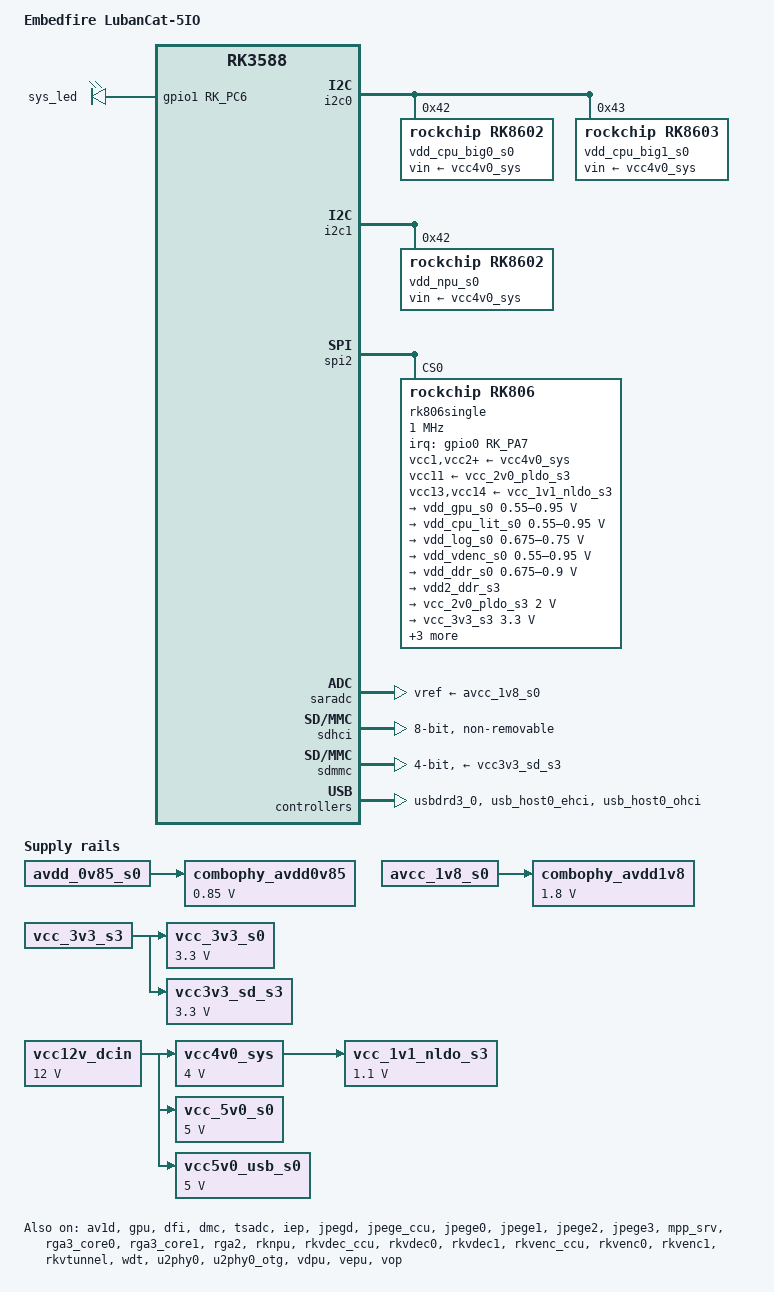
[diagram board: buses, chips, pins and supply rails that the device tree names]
// SPDX-License-Identifier: (GPL-2.0+ OR MIT)
/*
 * Copyright (c) 2021 Rockchip Electronics Co., Ltd.
 * Copyright (c) 2023 EmbedFire <embedfire@embedfire.com>
 */

/dts-v1/;

#include <dt-bindings/usb/pd.h>
#include <dt-bindings/gpio/gpio.h>
#include <dt-bindings/pwm/pwm.h>
#include <dt-bindings/pinctrl/rockchip.h>
//#include <dt-bindings/input/rk-input.h>
#include <dt-bindings/input/linux-event-codes.h>
#include <dt-bindings/display/drm_mipi_dsi.h>
#include <dt-bindings/display/rockchip_vop.h>
#include <dt-bindings/sensor-dev.h>
#include <dt-bindings/phy/jlsemi-dt-phy.h>
#include "rk3588.dtsi"
#include "rk3588-linux.dtsi"

/*
 * Display
 * 四屏异显(4K+4K+4K+2K)分配方案:
 *   hdmi0  4K			-->  vp0
 *   hdmi1  4K			-->  vp1
 *   dp0 or dsi0  4K	-->  vp2
 *   dsi1   2K			-->  vp3
 * 三屏异显(8K+4K+2K)分配方案:(其中8K通过vp0与vp1合并实现)
 * hdmi0、hdmi1 or dp0 8K --> vp0
 * hdmi1、dp0 or dis0  4K --> vp2
 * dsi1   2K              --> vp3
 */
/* 四屏异显(4K+4K+4K+2K), dp0与dsi0只能二选一 */
// #include "rk3588-lubancat-5io-hdmi0-vp0.dtsi"
// #include "rk3588-lubancat-5io-hdmi1-vp1.dtsi"
// #include "rk3588-lubancat-5io-dp0-vp2.dtsi"
// #include "rk3588-lubancat-5io-dsi0-vp2-1080p.dtsi"
// #include "rk3588-lubancat-5io-dsi1-vp3-1080p.dtsi"

/* 三屏异显(8K+4K+2K), 注：每个vp只能绑定到一个接口 */
// #include "rk3588-lubancat-5io-hdmi0-vp0.dtsi"
// #include "rk3588-lubancat-5io-hdmi1-vp0.dtsi"
// #include "rk3588-lubancat-5io-dp0-vp0.dtsi"
// #include "rk3588-lubancat-5io-hdmi1-vp2.dtsi"
// #include "rk3588-lubancat-5io-dp0-vp2.dtsi"
// #include "rk3588-lubancat-5io-dsi0-vp2-1080p.dtsi"
// #include "rk3588-lubancat-5io-dsi1-vp3-1080p.dtsi"

/* hdmi rx */

// #include "rk3588-lubancat-5io-hdmi-rx.dtsi"

/* Camera */
// #include "rk3588-lubancat-5io-csi.dtsi"

/ {
	model = "Embedfire LubanCat-5IO";
	compatible = "embedfire,rk3588-lubancat-5io", "rockchip,rk3588";

	// /* If hdmirx node is disabled, delete the reserved-memory node here. */
	// reserved-memory {
	// 	#address-cells = <2>;
	// 	#size-cells = <2>;
	// 	ranges;
	// 	/* Reserve 256MB memory for hdmirx-controller@fdee0000 */
	// 	cma {
	// 		compatible = "shared-dma-pool";
	// 		reusable;
	// 		reg = <0x0 (256 * 0x100000) 0x0 (256 * 0x100000)>;
	// 		linux,cma-default;
	// 	};
	// };

	leds: leds {
		status = "okay";
		compatible = "gpio-leds";

		sys_led: sys-led {
			label = "sys_led";
			linux,default-trigger = "heartbeat";
			default-state = "on";
			gpios = <&gpio1 RK_PC6 GPIO_ACTIVE_HIGH>;
			pinctrl-names = "default";
			pinctrl-0 = <&sys_led_pin>;
		};
	};

	vcc12v_dcin: vcc12v-dcin {
		compatible = "regulator-fixed";
		regulator-always-on;
		regulator-boot-on;
		regulator-min-microvolt = <12000000>;
		regulator-max-microvolt = <12000000>;
		regulator-name = "vcc12v_dcin";
	};

	vcc4v0_sys: vcc4v0-sys {
		compatible = "regulator-fixed";
		regulator-name = "vcc4v0_sys";
		regulator-always-on;
		regulator-boot-on;
		regulator-min-microvolt = <4000000>;
		regulator-max-microvolt = <4000000>;
		vin-supply = <&vcc12v_dcin>;
	};

	vcc_5v0_s0: vcc-5v0-s0 {
		compatible = "regulator-fixed";
		regulator-name = "vcc_5v0_s0";
		regulator-always-on;
		regulator-boot-on;
		regulator-min-microvolt = <5000000>;
		regulator-max-microvolt = <5000000>;
		vin-supply = <&vcc12v_dcin>;
	};

	vcc5v0_usb_s0: vcc5v0-usb-s0 {
		compatible = "regulator-fixed";
		regulator-name = "vcc5v0_usb_s0";
		regulator-always-on;
		regulator-boot-on;
		regulator-min-microvolt = <5000000>;
		regulator-max-microvolt = <5000000>;
		vin-supply = <&vcc12v_dcin>;
	};

	combophy_avdd0v85: combophy-avdd0v85 {
		compatible = "regulator-fixed";
		regulator-name = "combophy_avdd0v85";
		regulator-boot-on;
		regulator-min-microvolt = <850000>;
		regulator-max-microvolt = <850000>;
		vin-supply = <&avdd_0v85_s0>;
	};

	combophy_avdd1v8: combophy-avdd1v8 {
		compatible = "regulator-fixed";
		regulator-name = "combophy_avdd1v8";
		regulator-boot-on;
		regulator-min-microvolt = <1800000>;
		regulator-max-microvolt = <1800000>;
		vin-supply = <&avcc_1v8_s0>;
	};

	vcc_1v1_nldo_s3: vcc-1v1-nldo-s3 {
		compatible = "regulator-fixed";
		regulator-name = "vcc_1v1_nldo_s3";
		regulator-always-on;
		regulator-boot-on;
		regulator-min-microvolt = <1100000>;
		regulator-max-microvolt = <1100000>;
		vin-supply = <&vcc4v0_sys>;
	};

	vcc_3v3_s0: vcc-3v3-s0 {
		compatible = "regulator-fixed";
		regulator-name = "vcc_3v3_s0";
		regulator-always-on;
		regulator-boot-on;
		regulator-min-microvolt = <3300000>;
		regulator-max-microvolt = <3300000>;
		vin-supply = <&vcc_3v3_s3>;
	};

	vcc3v3_sd_s3: vcc3v3-sd-s3 {
		compatible = "regulator-fixed";
		regulator-name = "vcc3v3_sd_s3";
		regulator-always-on;
		regulator-boot-on;
		regulator-min-microvolt = <3300000>;
		regulator-max-microvolt = <3300000>;
		vin-supply = <&vcc_3v3_s3>;
	};

	vbus5v0_typec: vbus5v0-typec {
		compatible = "regulator-fixed";
		regulator-name = "vbus5v0_typec";
		regulator-min-microvolt = <5000000>;
		regulator-max-microvolt = <5000000>;
		enable-active-high;
		gpio = <&gpio4 RK_PA3 GPIO_ACTIVE_HIGH>;
		vin-supply = <&vcc5v0_usb_s0>;
		pinctrl-names = "default";
		pinctrl-0 = <&typec_vbus_en>;
		status="disabled"; /* my */
	};

	vcc5v0_usb30_otg: vcc5v0-usb30-otg {
		compatible = "regulator-fixed";
		regulator-name = "vcc5v0_usb30_otg";
		regulator-min-microvolt = <5000000>;
		regulator-max-microvolt = <5000000>;
		regulator-always-on;
		enable-active-high;
		regulator-boot-on;
		gpio = <&gpio4 RK_PA4 GPIO_ACTIVE_HIGH>;
		vin-supply = <&vcc5v0_usb_s0>;
		pinctrl-names = "default";
		pinctrl-0 = <&vcc5v0_usb30_otg_en>;
		status="disabled"; /* my */
	};

	vcc5v0_usb20_hub: vcc5v0-usb20-hub {
		compatible = "regulator-fixed";
		regulator-name = "vcc5v0_usb20_hub";
		regulator-min-microvolt = <5000000>;
		regulator-max-microvolt = <5000000>;
		regulator-always-on;
		enable-active-high;
		regulator-boot-on;
		gpio = <&gpio4 RK_PA5 GPIO_ACTIVE_HIGH>;
		vin-supply = <&vcc5v0_usb_s0>;
		pinctrl-names = "default";
		pinctrl-0 = <&vcc5v0_usb20_hub_en>;
		status="disabled"; /* my */
	};

	vcc5v0_usb20_host: vcc5v0-usb20-host {
		compatible = "regulator-fixed";
		regulator-name = "vcc5v0_usb20_host";
		regulator-min-microvolt = <5000000>;
		regulator-max-microvolt = <5000000>;
		regulator-always-on;
		enable-active-high;
		regulator-boot-on;
		gpio = <&gpio2 RK_PC3 GPIO_ACTIVE_HIGH>;
		vin-supply = <&vcc5v0_usb_s0>;
		pinctrl-names = "default";
		pinctrl-0 = <&vcc5v0_usb20_host_en>;
		status="disabled"; /* my */
	};

	vcc3v3_m2_pcie: vcc3v3-m2-pcie {
		compatible = "regulator-fixed";
		regulator-name = "vcc3v3_m2_pcie";
		regulator-min-microvolt = <3300000>;
		regulator-max-microvolt = <3300000>;
		regulator-always-on;
		enable-active-high;
		regulator-boot-on;
		gpio = <&gpio2 RK_PC5 GPIO_ACTIVE_HIGH>;
		vin-supply = <&vcc12v_dcin>;
		pinctrl-names = "default";
		pinctrl-0 = <&vcc3v3_m2_pcie_en>;
		status="disabled"; /* my */
	};

	vcc3v3_pciex4: vcc3v3-pciex4 {
		compatible = "regulator-fixed";
		regulator-name = "vcc3v3_pciex4";
		regulator-min-microvolt = <3300000>;
		regulator-max-microvolt = <3300000>;
		regulator-always-on;
		enable-active-high;
		regulator-boot-on;
		gpio = <&gpio4 RK_PC6 GPIO_ACTIVE_HIGH>;
		vin-supply = <&vcc12v_dcin>;
		pinctrl-names = "default";
		pinctrl-0 = <&vcc3v3_pcie_en>;
		status="disabled"; /* my */
	};

	vcc3v3_mini_pcie: vcc3v3-mini-pcie {
		compatible = "regulator-fixed";
		regulator-name = "vcc3v3_mini_pcie";
		regulator-min-microvolt = <3300000>;
		regulator-max-microvolt = <3300000>;
		regulator-always-on;
		enable-active-high;
		regulator-boot-on;
		gpio = <&gpio1 RK_PD5 GPIO_ACTIVE_HIGH>;
		vin-supply = <&vcc12v_dcin>;
		pinctrl-names = "default";
		pinctrl-0 = <&vcc3v3_mini_pcie_en>;
		status="disabled"; /* my */
	};

	vcc3v3_ekey_pcie: vcc3v3-ekey-pcie {
		compatible = "regulator-fixed";
		regulator-name = "vcc3v3_ekey_pcie";
		regulator-min-microvolt = <3300000>;
		regulator-max-microvolt = <3300000>;
		regulator-always-on;
		enable-active-high;
		regulator-boot-on;
		gpio = <&gpio0 RK_PB7 GPIO_ACTIVE_HIGH>;
		vin-supply = <&vcc12v_dcin>;
		pinctrl-names = "default";
		pinctrl-0 = <&vcc3v3_ekey_pcie_en>;
		status="disabled"; /* my */
	};

	sata_power: sata-power {
		compatible = "regulator-fixed";
		regulator-name = "sata_power";
		regulator-always-on;
		enable-active-high;
		regulator-boot-on;
		gpio = <&gpio1 RK_PD3 GPIO_ACTIVE_HIGH>;
		vin-supply = <&vcc12v_dcin>;
		pinctrl-names = "default";
		pinctrl-0 = <&sata_power_en>;
		status="disabled"; /* my */
	};

	mipi_dsi0_power: mipi-dsi0-power-regulator {
		compatible = "regulator-fixed";
		regulator-name = "mipi_dsi0_power";
		regulator-always-on;
		enable-active-high;
		regulator-boot-on;
		gpio = <&gpio1 RK_PC0 GPIO_ACTIVE_HIGH>;
		vin-supply = <&vcc_5v0_s0>;
		pinctrl-names = "default";
		pinctrl-0 = <&mipi_dsi0_power_en>;
		status="disabled"; /* my */
	};

	mipi_dsi1_power: mipi-dsi1-power-regulator {
		compatible = "regulator-fixed";
		regulator-name = "mipi_dsi1_power";
		regulator-always-on;
		enable-active-high;
		regulator-boot-on;
		gpio = <&gpio1 RK_PC1 GPIO_ACTIVE_HIGH>;
		vin-supply = <&vcc_5v0_s0>;
		pinctrl-names = "default";
		pinctrl-0 = <&mipi_dsi1_power_en>;
		status="disabled"; /* my */
	};

	es8388_sound: es8388-sound {
		status="disabled"; /* my */
		compatible = "rockchip,multicodecs-card";
		rockchip,card-name = "rockchip-es8388";
		hp-det-gpio = <&gpio0 RK_PA0 GPIO_ACTIVE_HIGH>;
		hp-con-gpio = <&gpio0 RK_PC7 GPIO_ACTIVE_HIGH>;
		spk-con-gpio = <&gpio3 RK_PD5 GPIO_ACTIVE_HIGH>;
		io-channels = <&saradc 4>;
		io-channel-names = "adc-detect";
		keyup-threshold-microvolt = <1800000>;
		poll-interval = <100>;
		rockchip,format = "i2s";
		rockchip,mclk-fs = <256>;
		rockchip,cpu = <&i2s0_8ch>;
		rockchip,codec = <&es8388>;
		rockchip,audio-routing =
			"Headphone", "LOUT1",
			"Headphone", "ROUT1",
			"Speaker", "LOUT2",
			"Speaker", "ROUT2",
			"Headphone", "Headphone Power",
			"Headphone", "Headphone Power",
			"Speaker", "Speaker Power",
			"Speaker", "Speaker Power",
			"LINPUT1", "Main Mic",
			"LINPUT2", "Main Mic",
			"RINPUT1", "Headset Mic",
			"RINPUT2", "Headset Mic";
		pinctrl-names = "default";
		pinctrl-0 = <&hp_det>;
		play-pause-key {
			label = "playpause";
			linux,code = <KEY_PLAYPAUSE>;
			press-threshold-microvolt = <2000>;
		};

		previous-song-key {
			label = "previoussong";
			linux,code = <KEY_PREVIOUSSONG>;
			press-threshold-microvolt = <145000>;
		};

		next-song-key {
			label = "nextsong";
			linux,code = <KEY_NEXTSONG>;
			press-threshold-microvolt = <290000>;
		};
	};

	fan: pwm-fan {
		compatible = "pwm-fan";
		#cooling-cells = <2>;
		pwms = <&pwm11 0 5000 0>;
		cooling-levels = <0 100 150 200 255>;
		rockchip,temp-trips = <
			35000	1
			40000	2
			45000	3
			50000	4
		>;
		status="disabled"; /* my */
	};

	test-power { /* 用于内核电源子系统的调试和测试，通常与实际产品功能无关。 */
		status = "okay";
	};
};

&rockchip_suspend { /* 配置系统休眠（挂起到内存）行为，包括休眠模式、唤醒源等*/
	status = "okay";
	rockchip,sleep-debug-en = <1>;
	rockchip,sleep-mode-config = <
		(0
		| RKPM_SLP_ARMOFF_DDRPD
		| RKPM_SLP_PMU_PMUALIVE_32K
		| RKPM_SLP_PMU_DIS_OSC
		| RKPM_SLP_32K_EXT
		)
	>;
	rockchip,wakeup-config = <
		(0
		| RKPM_GPIO_WKUP_EN
		| RKPM_CPU0_WKUP_EN
		)
	>;
};

&i2c2 {
	status="disabled"; /* my */
	pinctrl-names = "default";
	pinctrl-0 = <&i2c2m4_xfer>;
};

&pwm11 { //fan control
	pinctrl-0 = <&pwm11m2_pins>;
	status="disabled"; /* my */
};

&av1d { /* 硬件解码器核心，负责AV1格式视频的解码运算 */
	status = "okay";
};

&av1d_mmu {
	status = "okay";
};

&cpu_l0 {
	cpu-supply = <&vdd_cpu_lit_s0>;
	mem-supply = <&vdd_cpu_lit_mem_s0>;
};

&cpu_b0 {
	cpu-supply = <&vdd_cpu_big0_s0>;
	mem-supply = <&vdd_cpu_big0_mem_s0>;
};

&cpu_b2 {
	cpu-supply = <&vdd_cpu_big1_s0>;
	mem-supply = <&vdd_cpu_big1_mem_s0>;
};

&gpu {
	mali-supply = <&vdd_gpu_s0>;
	mem-supply = <&vdd_gpu_mem_s0>;
	upthreshold = <60>;
	downdifferential = <30>;
	status = "okay";
};

&dfi { /* DDR 控制接口 */
	status = "okay";
};

&dmc { /* 动态内存控制器 */
	status = "okay";
	center-supply = <&vdd_ddr_s0>;
	mem-supply = <&vdd_log_s0>;
};

&i2c0 {
	pinctrl-names = "default";
	pinctrl-0 = <&i2c0m2_xfer>;
	status = "okay";

	hym8563: hym8563@51 { //rtc
		compatible = "haoyu,hym8563";
		reg = <0x51>;
		#clock-cells = <0>;
		clock-frequency = <32768>;
		clock-output-names = "hym8563";
		pinctrl-names = "default";
		pinctrl-0 = <&hym8563_int>;
		interrupt-parent = <&gpio0>;
		interrupts = <RK_PB0 IRQ_TYPE_LEVEL_LOW>;
		wakeup-source;
		status="disabled"; /* my */
	};

	vdd_cpu_big0_s0: vdd_cpu_big0_mem_s0: rk8602@42 {
		compatible = "rockchip,rk8602";
		reg = <0x42>;
		vin-supply = <&vcc4v0_sys>;
		regulator-compatible = "rk860x-reg";
		regulator-name = "vdd_cpu_big0_s0";
		regulator-min-microvolt = <550000>;
		regulator-max-microvolt = <1050000>;
		regulator-ramp-delay = <2300>;
		rockchip,suspend-voltage-selector = <1>;
		regulator-boot-on;
		regulator-always-on;
		regulator-state-mem {
			regulator-off-in-suspend;
		};
	};

	vdd_cpu_big1_s0: vdd_cpu_big1_mem_s0: rk8603@43 {
		compatible = "rockchip,rk8603";
		reg = <0x43>;
		vin-supply = <&vcc4v0_sys>;
		regulator-compatible = "rk860x-reg";
		regulator-name = "vdd_cpu_big1_s0";
		regulator-min-microvolt = <550000>;
		regulator-max-microvolt = <1050000>;
		regulator-ramp-delay = <2300>;
		rockchip,suspend-voltage-selector = <1>;
		regulator-boot-on;
		regulator-always-on;
		regulator-state-mem {
			regulator-off-in-suspend;
		};
	};

	gpio6: gpio-expander@21 { /* io扩展芯片 */
		compatible = "nxp,pca9535";
		status="disabled"; /* my */
		reg = <0x21>;
		gpio-controller;
		#gpio-cells = <2>;
	};
};

&i2c1 {
	pinctrl-names = "default";
	pinctrl-0 = <&i2c1m2_xfer>;
	status = "okay";

	vdd_npu_s0: vdd_npu_mem_s0: rk8602@42 {
		compatible = "rockchip,rk8602";
		reg = <0x42>;
		vin-supply = <&vcc4v0_sys>;
		regulator-compatible = "rk860x-reg";
		regulator-name = "vdd_npu_s0";
		regulator-min-microvolt = <550000>;
		regulator-max-microvolt = <950000>;
		regulator-ramp-delay = <2300>;
		rockchip,suspend-voltage-selector = <1>;
		regulator-boot-on;
		regulator-always-on;
		regulator-state-mem {
			regulator-off-in-suspend;
		};
	};

	/* Typec Controller Fusb302 */
	usbc0: fusb302@22 {
		compatible = "fcs,fusb302";
		reg = <0x22>;
		interrupt-parent = <&gpio0>;
		interrupts = <RK_PD3 IRQ_TYPE_LEVEL_LOW>;
		pinctrl-names = "default";
		pinctrl-0 = <&fusb302_int>;
		vbus-supply = <&vbus5v0_typec>;
		status="disabled"; /* my */

		ports {
			#address-cells = <1>;
			#size-cells = <0>;

			port@0 {
				reg = <0>;
				usbc0_role_sw: endpoint@0 {
					remote-endpoint = <&dwc3_0_role_switch>;
				};
			};
		};

		usb_con: connector {
			compatible = "usb-c-connector";
			label = "USB-C";
			data-role = "dual";
			power-role = "dual";
			try-power-role = "sink";
			op-sink-microwatt = <1000000>;
			sink-pdos =
				<PDO_FIXED(5000, 1000, PDO_FIXED_USB_COMM)>;
			source-pdos =
				<PDO_FIXED(5000, 3000, PDO_FIXED_USB_COMM)>;

			altmodes {
				#address-cells = <1>;
				#size-cells = <0>;

				altmode@0 {
					reg = <0>;
					svid = <0xff01>;
					vdo = <0xffffffff>;
				};
			};

			ports {
				#address-cells = <1>;
				#size-cells = <0>;

				port@0 {
					reg = <0>;
					usbc0_orien_sw: endpoint {
						remote-endpoint = <&usbdp_phy0_orientation_switch>;
					};
				};

				port@1 {
					reg = <1>;
					dp_altmode_mux: endpoint {
						remote-endpoint = <&usbdp_phy0_dp_altmode_mux>;
					};
				};
			};
		};
	};
};

&spi2 {
	status = "okay";
	assigned-clocks = <&cru CLK_SPI2>;
	assigned-clock-rates = <200000000>;
	pinctrl-names = "default";
	pinctrl-0 = <&spi2m2_cs0 &spi2m2_pins>;
	num-cs = <1>;

	rk806single@0 {
		compatible = "rockchip,rk806";
		spi-max-frequency = <1000000>;
		reg = <0x0>;

		interrupt-parent = <&gpio0>;
		interrupts = <RK_PA7 IRQ_TYPE_LEVEL_LOW>;

		pinctrl-names = "default", "pmic-power-off";
		pinctrl-0 = <&pmic_pins>, <&rk806_dvs1_null>, <&rk806_dvs2_null>, <&rk806_dvs3_null>;
		pinctrl-1 = <&rk806_dvs1_pwrdn>;

		/* 2800mv-3500mv */
		low_voltage_threshold = <3000>;
		/* 2700mv-3400mv */
		shutdown_voltage_threshold = <2700>;
		/* 140 160 */
		shutdown_temperture_threshold = <160>;
		hotdie_temperture_threshold = <115>;

		/* 0: restart PMU;
		 * 1: reset all the power off reset registers,
		 *	forcing the state to switch to ACTIVE mode;
		 * 2: Reset all the power off reset registers,
		 *	forcing the state to switch to ACTIVE mode,
		 *	and simultaneously pull down the RESETB PIN for 5mS before releasing
		 */
		pmic-reset-func = <1>;

		vcc1-supply = <&vcc4v0_sys>;
		vcc2-supply = <&vcc4v0_sys>;
		vcc3-supply = <&vcc4v0_sys>;
		vcc4-supply = <&vcc4v0_sys>;
		vcc5-supply = <&vcc4v0_sys>;
		vcc6-supply = <&vcc4v0_sys>;
		vcc7-supply = <&vcc4v0_sys>;
		vcc8-supply = <&vcc4v0_sys>;
		vcc9-supply = <&vcc4v0_sys>;
		vcc10-supply = <&vcc4v0_sys>;
		vcc11-supply = <&vcc_2v0_pldo_s3>;
		vcc12-supply = <&vcc4v0_sys>;
		vcc13-supply = <&vcc_1v1_nldo_s3>;
		vcc14-supply = <&vcc_1v1_nldo_s3>;
		vcca-supply = <&vcc4v0_sys>;

		pwrkey {
			status = "okay";
		};

		pinctrl_rk806: pinctrl_rk806 {
			gpio-controller;
			#gpio-cells = <2>;

			rk806_dvs1_null: rk806_dvs1_null {
				pins = "gpio_pwrctrl2";
				function = "pin_fun0";
			};

			rk806_dvs1_slp: rk806_dvs1_slp {
				pins = "gpio_pwrctrl1";
				function = "pin_fun1";
			};

			rk806_dvs1_pwrdn: rk806_dvs1_pwrdn {
				pins = "gpio_pwrctrl1";
				function = "pin_fun2";
			};

			rk806_dvs1_rst: rk806_dvs1_rst {
				pins = "gpio_pwrctrl1";
				function = "pin_fun3";
			};

			rk806_dvs2_null: rk806_dvs2_null {
				pins = "gpio_pwrctrl2";
				function = "pin_fun0";
			};

			rk806_dvs2_slp: rk806_dvs2_slp {
				pins = "gpio_pwrctrl2";
				function = "pin_fun1";
			};

			rk806_dvs2_pwrdn: rk806_dvs2_pwrdn {
				pins = "gpio_pwrctrl2";
				function = "pin_fun2";
			};

			rk806_dvs2_rst: rk806_dvs2_rst {
				pins = "gpio_pwrctrl2";
				function = "pin_fun3";
			};

			rk806_dvs2_dvs: rk806_dvs2_dvs {
				pins = "gpio_pwrctrl2";
				function = "pin_fun4";
			};

			rk806_dvs2_gpio: rk806_dvs2_gpio {
				pins = "gpio_pwrctrl2";
				function = "pin_fun5";
			};

			rk806_dvs3_null: rk806_dvs3_null {
				pins = "gpio_pwrctrl3";
				function = "pin_fun0";
			};

			rk806_dvs3_slp: rk806_dvs3_slp {
				pins = "gpio_pwrctrl3";
				function = "pin_fun1";
			};

			rk806_dvs3_pwrdn: rk806_dvs3_pwrdn {
				pins = "gpio_pwrctrl3";
				function = "pin_fun2";
			};

			rk806_dvs3_rst: rk806_dvs3_rst {
				pins = "gpio_pwrctrl3";
				function = "pin_fun3";
			};

			rk806_dvs3_dvs: rk806_dvs3_dvs {
				pins = "gpio_pwrctrl3";
				function = "pin_fun4";
			};

			rk806_dvs3_gpio: rk806_dvs3_gpio {
				pins = "gpio_pwrctrl3";
				function = "pin_fun5";
			};
		};

		regulators {
			vdd_gpu_s0: vdd_gpu_mem_s0: DCDC_REG1 {
				regulator-boot-on;
				regulator-min-microvolt = <550000>;
				regulator-max-microvolt = <950000>;
				regulator-ramp-delay = <12500>;
				regulator-name = "vdd_gpu_s0";
				regulator-enable-ramp-delay = <400>;
				regulator-state-mem {
					regulator-off-in-suspend;
				};
			};

			vdd_cpu_lit_s0: vdd_cpu_lit_mem_s0: DCDC_REG2 {
				regulator-always-on;
				regulator-boot-on;
				regulator-min-microvolt = <550000>;
				regulator-max-microvolt = <950000>;
				regulator-ramp-delay = <12500>;
				regulator-name = "vdd_cpu_lit_s0";
				regulator-state-mem {
					regulator-off-in-suspend;
				};
			};

			vdd_log_s0: DCDC_REG3 {
				regulator-always-on;
				regulator-boot-on;
				regulator-min-microvolt = <675000>;
				regulator-max-microvolt = <750000>;
				regulator-ramp-delay = <12500>;
				regulator-name = "vdd_log_s0";
				regulator-state-mem {
					regulator-on-in-suspend;
					regulator-suspend-microvolt = <750000>;
				};
			};

			vdd_vdenc_s0: vdd_vdenc_mem_s0: DCDC_REG4 {
				regulator-always-on;
				regulator-boot-on;
				regulator-min-microvolt = <550000>;
				regulator-max-microvolt = <950000>;
				regulator-init-microvolt = <750000>;
				regulator-ramp-delay = <12500>;
				regulator-name = "vdd_vdenc_s0";
				regulator-state-mem {
					regulator-off-in-suspend;
				};
			};

			vdd_ddr_s0: DCDC_REG5 {
				regulator-always-on;
				regulator-boot-on;
				regulator-min-microvolt = <675000>;
				regulator-max-microvolt = <900000>;
				regulator-ramp-delay = <12500>;
				regulator-name = "vdd_ddr_s0";
				regulator-state-mem {
					regulator-off-in-suspend;
					regulator-suspend-microvolt = <850000>;
				};
			};

			vdd2_ddr_s3: DCDC_REG6 {
				regulator-always-on;
				regulator-boot-on;
				regulator-name = "vdd2_ddr_s3";
				regulator-state-mem {
					regulator-on-in-suspend;
				};
			};

			vcc_2v0_pldo_s3: DCDC_REG7 {
				regulator-always-on;
				regulator-boot-on;
				regulator-min-microvolt = <2000000>;
				regulator-max-microvolt = <2000000>;
				regulator-name = "vdd_2v0_pldo_s3";
				regulator-state-mem {
					regulator-on-in-suspend;
					regulator-suspend-microvolt = <2000000>;
				};
			};

			vcc_3v3_s3: DCDC_REG8 {
				regulator-always-on;
				regulator-boot-on;
				regulator-min-microvolt = <3300000>;
				regulator-max-microvolt = <3300000>;
				regulator-name = "vcc_3v3_s3";
				regulator-state-mem {
					regulator-on-in-suspend;
					regulator-suspend-microvolt = <3300000>;
				};
			};

			vddq_ddr_s0: DCDC_REG9 {
				regulator-always-on;
				regulator-boot-on;
				regulator-name = "vddq_ddr_s0";
				regulator-state-mem {
					regulator-off-in-suspend;
				};
			};

			vcc_1v8_s3: DCDC_REG10 {
				regulator-always-on;
				regulator-boot-on;
				regulator-min-microvolt = <1800000>;
				regulator-max-microvolt = <1800000>;
				regulator-name = "vcc_1v8_s3";
				regulator-state-mem {
					regulator-on-in-suspend;
					regulator-suspend-microvolt = <1800000>;
				};
			};

			vcc_1v8_s0: PLDO_REG1 {
				regulator-always-on;
				regulator-boot-on;
				regulator-min-microvolt = <1800000>;
				regulator-max-microvolt = <1800000>;
				regulator-name = "vcc_1v8_s0";
				regulator-state-mem {
					regulator-on-in-suspend;
					regulator-suspend-microvolt = <1800000>;
				};
			};

			avcc_1v8_s0: PLDO_REG2 {
				regulator-always-on;
				regulator-boot-on;
				regulator-min-microvolt = <1800000>;
				regulator-max-microvolt = <1800000>;
				regulator-name = "avcc_1v8_s0";
				regulator-state-mem {
					regulator-off-in-suspend;
				};
			};

			avdd_1v2_s0: PLDO_REG3 {
				regulator-always-on;
				regulator-boot-on;
				regulator-min-microvolt = <1200000>;
				regulator-max-microvolt = <1200000>;
				regulator-name = "avdd_1v2_s0";
				regulator-state-mem {
					regulator-off-in-suspend;
				};
			};

			avcc_3v3_s0: PLDO_REG4 {
				regulator-always-on;
				regulator-boot-on;
				regulator-min-microvolt = <3300000>;
				regulator-max-microvolt = <3300000>;
				regulator-name = "avcc_3v3_s0";
				regulator-state-mem {
					regulator-off-in-suspend;
				};
			};

			vccio_sd_s0: PLDO_REG5 {
				regulator-always-on;
				regulator-boot-on;
				regulator-min-microvolt = <1800000>;
				regulator-max-microvolt = <3300000>;
				regulator-name = "vccio_sd_s0";
				regulator-state-mem {
					regulator-off-in-suspend;
				};
			};

			pldo6_s3: PLDO_REG6 {
				regulator-always-on;
				regulator-boot-on;
				regulator-min-microvolt = <1800000>;
				regulator-max-microvolt = <1800000>;
				regulator-name = "pldo6_s3";
				regulator-state-mem {
					regulator-on-in-suspend;
					regulator-suspend-microvolt = <1800000>;
				};
			};

			vdd_0v75_s3: NLDO_REG1 {
				regulator-always-on;
				regulator-boot-on;
				regulator-min-microvolt = <750000>;
				regulator-max-microvolt = <750000>;
				regulator-name = "vdd_0v75_s3";
				regulator-state-mem {
					regulator-on-in-suspend;
					regulator-suspend-microvolt = <750000>;
				};
			};

			avdd_ddr_pll_s0: NLDO_REG2 {
				regulator-always-on;
				regulator-boot-on;
				regulator-min-microvolt = <850000>;
				regulator-max-microvolt = <850000>;
				regulator-name = "avdd_ddr_pll_s0";
				regulator-state-mem {
					regulator-off-in-suspend;
					regulator-suspend-microvolt = <850000>;
				};
			};

			avdd_0v75_s0: NLDO_REG3 {
				regulator-always-on;
				regulator-boot-on;
				regulator-min-microvolt = <837500>;
				regulator-max-microvolt = <837500>;
				regulator-name = "avdd_0v75_s0";
				regulator-state-mem {
					regulator-off-in-suspend;
				};
			};

			avdd_0v85_s0: NLDO_REG4 {
				regulator-always-on;
				regulator-boot-on;
				regulator-min-microvolt = <850000>;
				regulator-max-microvolt = <850000>;
				regulator-name = "avdd_0v85_s0";
				regulator-state-mem {
					regulator-off-in-suspend;
				};
			};
		};
	};
};

&i2c7 {
	pinctrl-names = "default";
	pinctrl-0 = <&i2c7m0_xfer>;
	status="disabled"; /* my */

	es8388: es8388@11 {
		status = "okay";
		#sound-dai-cells = <0>;
		compatible = "everest,es8388", "everest,es8323";
		reg = <0x11>;
		clocks = <&mclkout_i2s0>;
		clock-names = "mclk";
		assigned-clocks = <&mclkout_i2s0>;
		assigned-clock-rates = <12288000>;
		pinctrl-names = "default";
		pinctrl-0 = <&i2s0_mclk>;
	};
};

&i2s0_8ch {
	status="disabled"; /* my */
	rockchip,clk-trcm = <1>;
	pinctrl-0 = <&i2s0_lrck
			 &i2s0_sclk
			 &i2s0_sdi0
			 &i2s0_sdo0>;
};

&saradc {
	status = "okay";
	vref-supply = <&avcc_1v8_s0>;
};

&tsadc {
	status = "okay";
};

&sdhci { /* 定义了操作系统软件应如何与SD和MMC存储卡的硬件主机控制器进行通信 */
	bus-width = <8>;
	no-sdio;
	no-sd;
	non-removable;
	max-frequency = <200000000>;
	mmc-hs400-1_8v;
	mmc-hs400-enhanced-strobe;
	full-pwr-cycle-in-suspend;
	status = "okay";
};

&sdmmc {
	max-frequency = <200000000>;
	no-sdio;
	no-mmc;
	bus-width = <4>;
	cap-mmc-highspeed;
	cap-sd-highspeed;
	disable-wp;
	sd-uhs-sdr104;
	vmmc-supply = <&vcc3v3_sd_s3>;
	vqmmc-supply = <&vccio_sd_s0>;
	pinctrl-names = "default";
	pinctrl-0 = <&sdmmc_bus4 &sdmmc_clk &sdmmc_cmd &sdmmc_det>;
	status = "okay";
};

&iep { /* 图像增强处理器 */
	status = "okay";
};

&iep_mmu {
	status = "okay";
};

&jpegd { /* JPEG 解码器 */
	status = "okay";
};

&jpegd_mmu {
	status = "okay";
};

&jpege_ccu {
	status = "okay";
};

&jpege0 { /* JPEG 编码器 */
	status = "okay";
};

&jpege0_mmu {
	status = "okay";
};

&jpege1 {
	status = "okay";
};

&jpege1_mmu {
	status = "okay";
};

&jpege2 {
	status = "okay";
};

&jpege2_mmu {
	status = "okay";
};

&jpege3 {
	status = "okay";
};

&jpege3_mmu {
	status = "okay";
};

&mpp_srv { /* 媒体处理平台服务 */
	status = "okay";
};

&pwm4 {
	pinctrl-0 = <&pwm4m0_pins>;
	status="disabled"; /* my */
};

&pwm2 {
	pinctrl-0 = <&pwm2m0_pins>;
	status="disabled"; /* my */
};

&pwm6 {
	pinctrl-0 = <&pwm6m0_pins>;
	status="disabled"; /* my */
};

&pwm7 {
	compatible = "rockchip,remotectl-pwm";
	pinctrl-names = "default";
	pinctrl-0 = <&pwm7m0_pins>;
	remote_pwm_id = <3>;
	handle_cpu_id = <1>;
	remote_support_psci = <0>;
	status="disabled"; /* my */

	ir_key_lubancat{
	rockchip,usercode = <0xff00>;
	rockchip,key_table =
		<0xba   KEY_POWER>,   //电源按键
		<0xb8   KEY_MENU>,     //菜单按键
		<0xbc   KEY_BACK>,      //返回按键
		<0xbb   KEY_HOME>,      //home键按键
		<0xea   KEY_PLAY>,      //播放按键
		<0xbf   KEY_VOLUMEUP>,  //音量加按键
		<0xe6   KEY_VOLUMEDOWN>,   //音量键按键
		<0xf6   KEY_FASTFORWARD>,  //快进按键
		<0xf8   KEY_FASTREVERSE>,  //快退按键
		<0xf2   KEY_BACKSPACE>,    //BaskSpace按键
		<0xf3   KEY_1>,            //按键1
		<0xe7   KEY_2>,
		<0xa1   KEY_3>,
		<0xf7   KEY_4>,
		<0xe3   KEY_5>,
		<0xa5   KEY_6>,
		<0xbd   KEY_7>,
		<0xad   KEY_8>,
		<0xb5   KEY_9>,
		<0xe9   KEY_0>;            //按键0
	};
};

&rga3_core0 { /* 光栅图形加速器 */
	status = "okay";
};

&rga3_0_mmu {
	status = "okay";
};

&rga3_core1 {
	status = "okay";
};

&rga3_1_mmu {
	status = "okay";
};

&rga2 {
	status = "okay";
};

&rknpu {
	rknpu-supply = <&vdd_npu_s0>;
	mem-supply = <&vdd_npu_mem_s0>;
	status = "okay";
};

&rknpu_mmu {
	status = "okay";
};

&rkvdec_ccu {
	status = "okay";
};

&rkvdec0 {
	status = "okay";
};

&rkvdec0_mmu {
	status = "okay";
};

&rkvdec1 {
	status = "okay";
};

&rkvdec1_mmu {
	status = "okay";
};

&rkvenc_ccu {
	status = "okay";
};

&rkvenc0 {
	status = "okay";
};

&rkvenc0_mmu {
	status = "okay";
};

&rkvenc1 {
	status = "okay";
};

&rkvenc1_mmu {
	status = "okay";
};

&rkvtunnel {
	status = "okay";
};

/* this is a watchdog */
&wdt {
	status = "okay";
};

&gmac0 {
	/* Use rgmii-rxid mode to disable rx delay inside Soc */
	phy-mode = "rgmii-rxid";
	clock_in_out = "output";

	snps,reset-gpio = <&gpio3 RK_PC0 GPIO_ACTIVE_LOW>;
	snps,reset-active-low;
	/* Reset time is 20ms, 100ms for rtl8211f */
	snps,reset-delays-us = <0 20000 100000>;

	pinctrl-names = "default";
	pinctrl-0 = <&gmac0_miim
			 &gmac0_tx_bus2
			 &gmac0_rx_bus2
			 &gmac0_rgmii_clk
			 &gmac0_rgmii_bus>;

	tx_delay = <0x26>;
	/* rx_delay = <0x4f>; */

	phy-handle = <&rgmii_phy0>;
	status="disabled"; /* my */
};

&gmac1 {
	/* Use rgmii-rxid mode to disable rx delay inside Soc */
	phy-mode = "rgmii-rxid";
	clock_in_out = "output";

	snps,reset-gpio = <&gpio3 RK_PC1 GPIO_ACTIVE_LOW>;
	snps,reset-active-low;
	/* Reset time is 20ms, 100ms for rtl8211f */
	snps,reset-delays-us = <0 20000 100000>;

	pinctrl-names = "default";
	pinctrl-0 = <&gmac1_miim
			 &gmac1_tx_bus2
			 &gmac1_rx_bus2
			 &gmac1_rgmii_clk
			 &gmac1_rgmii_bus>;

	tx_delay = <0x18>;
	/* rx_delay = <0x4f>; */

	phy-handle = <&rgmii_phy1>;
	status="disabled"; /* my */
};

&mdio0 {
	rgmii_phy0: phy@0 {
		compatible = "ethernet-phy-ieee802.3-c22";
		reg = <0x0>;
		jl2xxx,led-enable = <(JL2XXX_LED_STATIC_OP_EN | JL1XXX_LED_MODE_EN)>;
		jl2xxx,led-mode = <(JL2XXX_LED1_LINK10  | \
				 JL2XXX_LED1_LINK100  | \
				 JL2XXX_LED1_LINK1000 | \
				 JL2XXX_LED2_LINK10   | \
				 JL2XXX_LED2_LINK100  | \
				 JL2XXX_LED2_LINK1000 | \
				 JL2XXX_LED2_ACTIVITY )>; //JL PHY
		realtek,led-data = <0x6d60>;  //8211F phy
		status="disabled"; /* my */
	};
};

&mdio1 {
	rgmii_phy1: phy@1 {
		compatible = "ethernet-phy-ieee802.3-c22";
		reg = <0x01>;
		jl2xxx,led-enable = <(JL2XXX_LED_STATIC_OP_EN | JL1XXX_LED_MODE_EN)>;
		jl2xxx,led-mode = <(JL2XXX_LED1_LINK10  | \
				 JL2XXX_LED1_LINK100  | \
				 JL2XXX_LED1_LINK1000 | \
				 JL2XXX_LED2_LINK10   | \
				 JL2XXX_LED2_LINK100  | \
				 JL2XXX_LED2_LINK1000 | \
				 JL2XXX_LED2_ACTIVITY )>; //JL PHY
		realtek,led-data = <0x6d60>;  //8211F phy
		status="disabled"; /* my */
	};
};

/* PCIe30 PHY Port0 & Port1 */
&pcie30phy {
	rockchip,pcie30-phymode = <PHY_MODE_PCIE_NANBNB>;
	status="disabled"; /* my */
};

// PCIe30 Port0: M.2 M-Key
&pcie3x4 {
	num-lanes = <2>;
	vpcie3v3-supply = <&vcc3v3_m2_pcie>;
	reset-gpios = <&gpio4 RK_PB6 GPIO_ACTIVE_HIGH>;
	status="disabled"; /* my */
};

// PCIe30 Port1: PCIe-64P
&pcie3x2 {
	vpcie3v3-supply = <&vcc3v3_pciex4>;
	reset-gpios = <&gpio4 RK_PB0 GPIO_ACTIVE_HIGH>;
	status="disabled"; /* my */
};

/* SATA30_HOST0/PCIe20x1_2 Combo PHY */
&combphy0_ps {
	status="disabled"; /* my */
};

// SATA
&sata0{
	status="disabled"; /* my */
};

/* SATA30_HOST1/PCIe20x1_0 Combo PHY */
&combphy1_ps {
	status="disabled"; /* my */
};

// M.2 E-Key
&pcie2x1l0 {
	reset-gpios = <&gpio0 RK_PC5 GPIO_ACTIVE_HIGH>;
	disable-gpios = <&gpio0 RK_PC6 GPIO_ACTIVE_HIGH>;
	vpcie3v3-supply = <&vcc3v3_ekey_pcie>;
	status="disabled"; /* my */
};

/* USB30_HOST2/SATA30_HOST2/PCIe20x1_1 Combo PHY */
&combphy2_psu {
	status="disabled"; /* my */
};

// Mini-PCIe
&pcie2x1l1 {
	reset-gpios = <&gpio4 RK_PA2 GPIO_ACTIVE_HIGH>;
	disable-gpios = <&gpio3 RK_PA6 GPIO_ACTIVE_HIGH>;
	vpcie3v3-supply = <&vcc3v3_mini_pcie>;
	status="disabled"; /* my */
};

/* USB3.0_OTG/DP1.4 Combo PHY0 */
&usbdp_phy0 {
	orientation-switch;
	svid = <0xff01>;
	sbu1-dc-gpios = <&gpio1 RK_PB0 GPIO_ACTIVE_HIGH>;
	sbu2-dc-gpios = <&gpio1 RK_PB1 GPIO_ACTIVE_HIGH>;
	status="disabled"; /* my */

	port {
		#address-cells = <1>;
		#size-cells = <0>;
		usbdp_phy0_orientation_switch: endpoint@0 {
			reg = <0>;
			remote-endpoint = <&usbc0_orien_sw>;
		};

		usbdp_phy0_dp_altmode_mux: endpoint@1 {
			reg = <1>;
			remote-endpoint = <&dp_altmode_mux>;
		};
	};
};

&usbdp_phy0_u3 {
	status="disabled"; /* my */
};

&usbdp_phy0_dp {
	status="disabled"; /* my */
};

/* USB3.0 OTG0 Controller  */
&usbdrd3_0 {
	status = "okay";
};

&usbdrd_dwc3_0 {
	dr_mode = "otg";
	usb-role-switch;

	status="disabled"; /* my */
	port {
		#address-cells = <1>;
		#size-cells = <0>;
		dwc3_0_role_switch: endpoint@0 {
			reg = <0>;
			remote-endpoint = <&usbc0_role_sw>;
		};
	};
};

/* USB2.0 PHY0 */
&u2phy0 {
	status = "okay";
};

&u2phy0_otg {
	rockchip,typec-vbus-det;
	status = "okay";
};

/* USB3.0_OTG/DP1.4 Combo PHY1 */
&usbdp_phy1 {
	rockchip,dp-lane-mux = <2 3>;
	status="disabled"; /* my */
};

&usbdp_phy1_u3 {
	status="disabled"; /* my */
};

&usbdrd3_1 {
	status="disabled"; /* my */
};

&usbdrd_dwc3_1 {
	dr_mode = "host";
	status="disabled"; /* my */
};

/* USB2.0 PHY1 */
&u2phy1 {
	status="disabled"; /* my */
};

&u2phy1_otg {
	phy-supply = <&vcc5v0_usb30_otg>;
	status="disabled"; /* my */
};

/* USB2.0 HOST0 PHY2 */
&u2phy2 {
	status="disabled"; /* my */
};

&u2phy2_host {
	phy-supply = <&vcc5v0_usb20_host>;
	status="disabled"; /* my */
};

/* USB2.0 HOST0 Controller */
&usb_host0_ehci {
	status = "okay";
};

&usb_host0_ohci {
	status = "okay";
};

/* USB2.0 HOST1 PHY3 */
&u2phy3 {
	status="disabled"; /* my */
};

&u2phy3_host {
	phy-supply = <&vcc5v0_usb20_hub>;
	status="disabled"; /* my */
};

/* USB2.0 HOST1 Controller */
&usb_host1_ehci {
	status="disabled"; /* my */
};

&usb_host1_ohci {
	status="disabled"; /* my */
};

&vdpu {
	status = "okay";
};

&vdpu_mmu {
	status = "okay";
};

&vepu {
	status = "okay";
};

&vop {
	status = "okay";
	// disable-win-move;
};

&vop_mmu {
	status = "okay";
};

/* vp0 & vp1 splice for 8K output */
&vp0 {
	rockchip,plane-mask = <(1 << ROCKCHIP_VOP2_CLUSTER0 | 1 << ROCKCHIP_VOP2_ESMART0)>;
	rockchip,primary-plane = <ROCKCHIP_VOP2_ESMART0>;
	cursor-win-id = <ROCKCHIP_VOP2_CLUSTER0>;
	status="disabled"; /* my */
};

&vp1 {
	rockchip,plane-mask = <(1 << ROCKCHIP_VOP2_CLUSTER1 | 1 << ROCKCHIP_VOP2_ESMART1)>;
	rockchip,primary-plane = <ROCKCHIP_VOP2_ESMART1>;
	cursor-win-id = <ROCKCHIP_VOP2_CLUSTER1>;
	status="disabled"; /* my */
};

&vp2 {
	rockchip,plane-mask = <(1 << ROCKCHIP_VOP2_CLUSTER2 | 1 << ROCKCHIP_VOP2_ESMART2)>;
	rockchip,primary-plane = <ROCKCHIP_VOP2_ESMART2>;
	cursor-win-id = <ROCKCHIP_VOP2_CLUSTER2>;
	status="disabled"; /* my */
};

&vp3 {
	rockchip,plane-mask = <(1 << ROCKCHIP_VOP2_CLUSTER3 | 1 << ROCKCHIP_VOP2_ESMART3)>;
	rockchip,primary-plane = <ROCKCHIP_VOP2_ESMART3>;
	cursor-win-id = <ROCKCHIP_VOP2_CLUSTER3>;
	status="disabled"; /* my */
};

&display_subsystem {
	clocks = <&hdptxphy_hdmi_clk0>, <&hdptxphy_hdmi_clk1>;
	clock-names = "hdmi0_phy_pll", "hdmi1_phy_pll";
	status="disabled"; /* my */
};

&hdptxphy_hdmi_clk0 {
	status="disabled"; /* my */
};

&hdptxphy_hdmi_clk1 {
	status="disabled"; /* my */
};

&pinctrl {
	hym8563 {
		status="disabled"; /* my */
		hym8563_int: hym8563-int {
			rockchip,pins = <0 RK_PB0 RK_FUNC_GPIO &pcfg_pull_up>;
		};	
	};

	headphone {
		status="disabled"; /* my */
		hp_det: hp-det {
			rockchip,pins = <0 RK_PA0 RK_FUNC_GPIO &pcfg_pull_none>;
		};
	};

	usb-typec {
		status="disabled"; /* my */
		fusb302_int: fusb302-int {
			rockchip,pins = <0 RK_PD3 RK_FUNC_GPIO &pcfg_pull_up>;
		};

		typec_vbus_en: typec-vbus-en {
			rockchip,pins = <4 RK_PA3 RK_FUNC_GPIO &pcfg_pull_none>;
		};

		vcc5v0_usb30_otg_en: vcc5v0-usb30-otg-en {
			rockchip,pins = <4 RK_PA4 RK_FUNC_GPIO &pcfg_pull_none>;
		};

		vcc5v0_usb20_hub_en: vcc5v0-usb20-hub-en {
			rockchip,pins = <4 RK_PA5 RK_FUNC_GPIO &pcfg_pull_none>;
		};

		vcc5v0_usb20_host_en: vcc5v0-usb20-host-en {
			rockchip,pins = <2 RK_PC3 RK_FUNC_GPIO &pcfg_pull_none>;
		};

		vcc3v3_m2_pcie_en: vcc3v3-m2-pcie-en {
			rockchip,pins = <2 RK_PC5 RK_FUNC_GPIO &pcfg_pull_none>;
		};

		vcc3v3_pcie_en: vcc3v3-pcie-en {
			rockchip,pins = <4 RK_PC6 RK_FUNC_GPIO &pcfg_pull_none>;
		};

		vcc3v3_mini_pcie_en: vcc3v3-mini-pcie-en {
			rockchip,pins = <1 RK_PD5 RK_FUNC_GPIO &pcfg_pull_none>;
		};

		vcc3v3_ekey_pcie_en: vcc3v3-ekey-pcie-en {
			rockchip,pins = <0 RK_PB7 RK_FUNC_GPIO &pcfg_pull_none>;
		};
	};

	mipi {
		status="disabled"; /* my */
		mipi_dsi0_power_en: mipi-dsi0-power-en {
			rockchip,pins = <1 RK_PC0 RK_FUNC_GPIO &pcfg_pull_none>;
		};

		mipi_dsi1_power_en: mipi-dsi1-power-en {
			rockchip,pins = <1 RK_PC1 RK_FUNC_GPIO &pcfg_pull_none>;
		};
	};

	sata {
		status="disabled"; /* my */
		sata_power_en: sata-power-en {
			rockchip,pins = <1 RK_PD3 RK_FUNC_GPIO &pcfg_pull_none>;
		};
	};

	leds {
		sys_led_pin: sys-led-pin {
			rockchip,pins = <1 RK_PC6 RK_FUNC_GPIO &pcfg_pull_none>;
		};
	};
};
